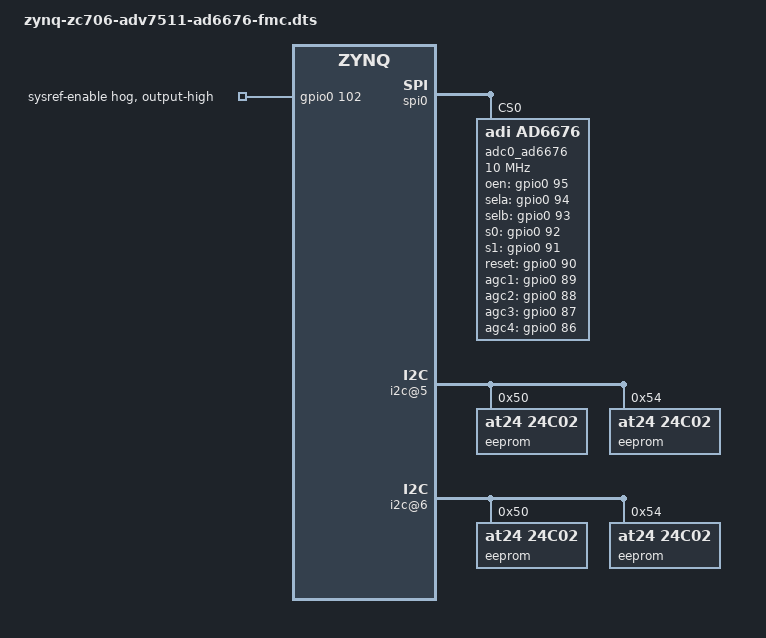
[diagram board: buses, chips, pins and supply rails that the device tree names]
// SPDX-License-Identifier: GPL-2.0
/*
 * Analog Devices AD6676
 * https://wiki.analog.com/resources/tools-software/linux-drivers/iio-adc/ad6676
 * https://wiki.analog.com/resources/eval/ad6676-wideband_rx_subsystem_ad6676ebz
 *
 * hdl_project: <ad6676evb/zc706>
 * board_revision: <>
 *
 * Copyright (C) 2016-2019 Analog Devices Inc.
 */
/dts-v1/;

#include "zynq-zc706.dtsi"
#include "zynq-zc706-adv7511.dtsi"

/ {
	clocks {
		ad6676_clkin: clock@1 {
			#clock-cells = <0>;
			compatible = "fixed-clock";
			clock-frequency = <200000000>;
			clock-output-names = "clkin";
		};
	};
};

&spi0 {
	status = "okay";

	adc0_ad6676: ad6676@0 {
		compatible = "adi,ad6676";
		reg = <0>;
		spi-max-frequency = <10000000>;

		clocks = <&axi_ad6676_jesd>, <&ad6676_clkin>;
		clock-names = "jesd_clk", "ref_clk";

		adi,adc-frequency-hz = <3200000000>;
		adi,adc-frequency-fixed-enable;
		adi,intermediate-frequency-hz = <250000000>;

		adi,intermediate-frequency-min-hz = <150000000>;
		adi,intermediate-frequency-max-hz = <450000000>;

		adi,bandwidth-hz = <75000000>;
		adi,margin-low-mhz = <5>;
		adi,margin-high-mhz = <5>;
		adi,margin-if-mhz = <0>;
		adi,decimation = <16>;
		adi,external-inductance-l-nh = <19>;
		//adi,use-external-clk-enable;

		adi,jesd-scrambling-enable;
		adi,jesd-use-lvds-syncb-enable;
		//adi,jesd-powerdown-sysref-enable;
		adi,jesd-l-lanes = <2>;
		adi,jesd-f-frames-per-multiframe = <16>;

		adi,shuffler-control = <1>;
		adi,shuffler-thresh = <5>;

		oen-gpios = <&gpio0 95 0>;   /* 0 */
		sela-gpios = <&gpio0 94 0>;  /* 0 */
		selb-gpios = <&gpio0 93 0>;  /* 1 */
		s0-gpios = <&gpio0 92 0>;    /* 0 */
		s1-gpios = <&gpio0 91 0>;    /* 1 */
		reset-gpios = <&gpio0 90 0>; /* 1 */
		agc1-gpios = <&gpio0 89 0>;
		agc2-gpios = <&gpio0 88 0>;
		agc3-gpios = <&gpio0 87 0>;
		agc4-gpios = <&gpio0 86 0>;
	};
};

&i2c_mux {
	i2c@5 { /* HPC IIC */
		#address-cells = <1>;
		#size-cells = <0>;
		reg = <5>;

		eeprom@50 {
			compatible = "at24,24c02";
			reg = <0x50>;
		};

		eeprom@54 {
			compatible = "at24,24c02";
			reg = <0x54>;
		};
	};

	i2c@6 { /* LPC IIC */
		#address-cells = <1>;
		#size-cells = <0>;
		reg = <6>;
		eeprom@50 {
			compatible = "at24,24c02";
			reg = <0x50>;
		};

		eeprom@54 {
			compatible = "at24,24c02";
			reg = <0x54>;
		};
	};
};

&fpga_axi {
	rx_dma: rx-dmac@7c420000 {
		compatible = "adi,axi-dmac-1.00.a";
		reg = <0x7c420000 0x10000>;
		#dma-cells = <1>;
		interrupts = <0 57 IRQ_TYPE_LEVEL_HIGH>;
		clocks = <&clkc 16>;

		adi,channels {
			#address-cells = <1>;
			#size-cells = <0>;

			dma-channel@0 {
				reg = <0>;
				adi,source-bus-width = <64>;
				adi,source-bus-type = <2>;
				adi,destination-bus-width = <64>;
				adi,destination-bus-type = <0>;
			};
		};
	};

	axi_ad6676_core: axi-ad6676-hpc@44a10000 {
		compatible = "adi,axi-ad9680-1.0";
		reg = <0x44a10000 0x10000>;
		dmas = <&rx_dma 0>;
		dma-names = "rx";
		spibus-connected = <&adc0_ad6676>;
	} ;

	axi_ad6676_jesd: axi-jesd204-rx@44aa0000 {
		compatible = "adi,axi-jesd204-rx-1.0";
		reg = <0x44aa0000 0x1000>;

		interrupts = <0 56 IRQ_TYPE_LEVEL_HIGH>;

		clocks = <&clkc 16>, <&axi_adxcvr 1>, <&axi_adxcvr 0>;
		clock-names = "s_axi_aclk", "device_clk", "lane_clk";

		#clock-cells = <0>;
		clock-output-names = "jesd_adc_lane_clk";

		adi,octets-per-frame = <2>;
		adi,frames-per-multiframe = <16>;
	};

	axi_adxcvr: axi-adxcvr-rx@44a60000 {
		compatible = "adi,axi-adxcvr-1.0";
		reg = <0x44a60000 0x1000>;

		clocks = <&ad6676_clkin>;
		clock-names = "conv";

		#clock-cells = <1>;
		clock-output-names = "adc_gt_clk", "rx_out_clk";

		adi,sys-clk-select = <0>;
		adi,out-clk-select = <4>;
		adi,use-cpll-enable;
	};
};

&gpio0 {
	sysref_enable {
		gpio-hog;
		gpios = <102 0>;
		output-high;
		line-name = "sysref-enable";
	};
};
